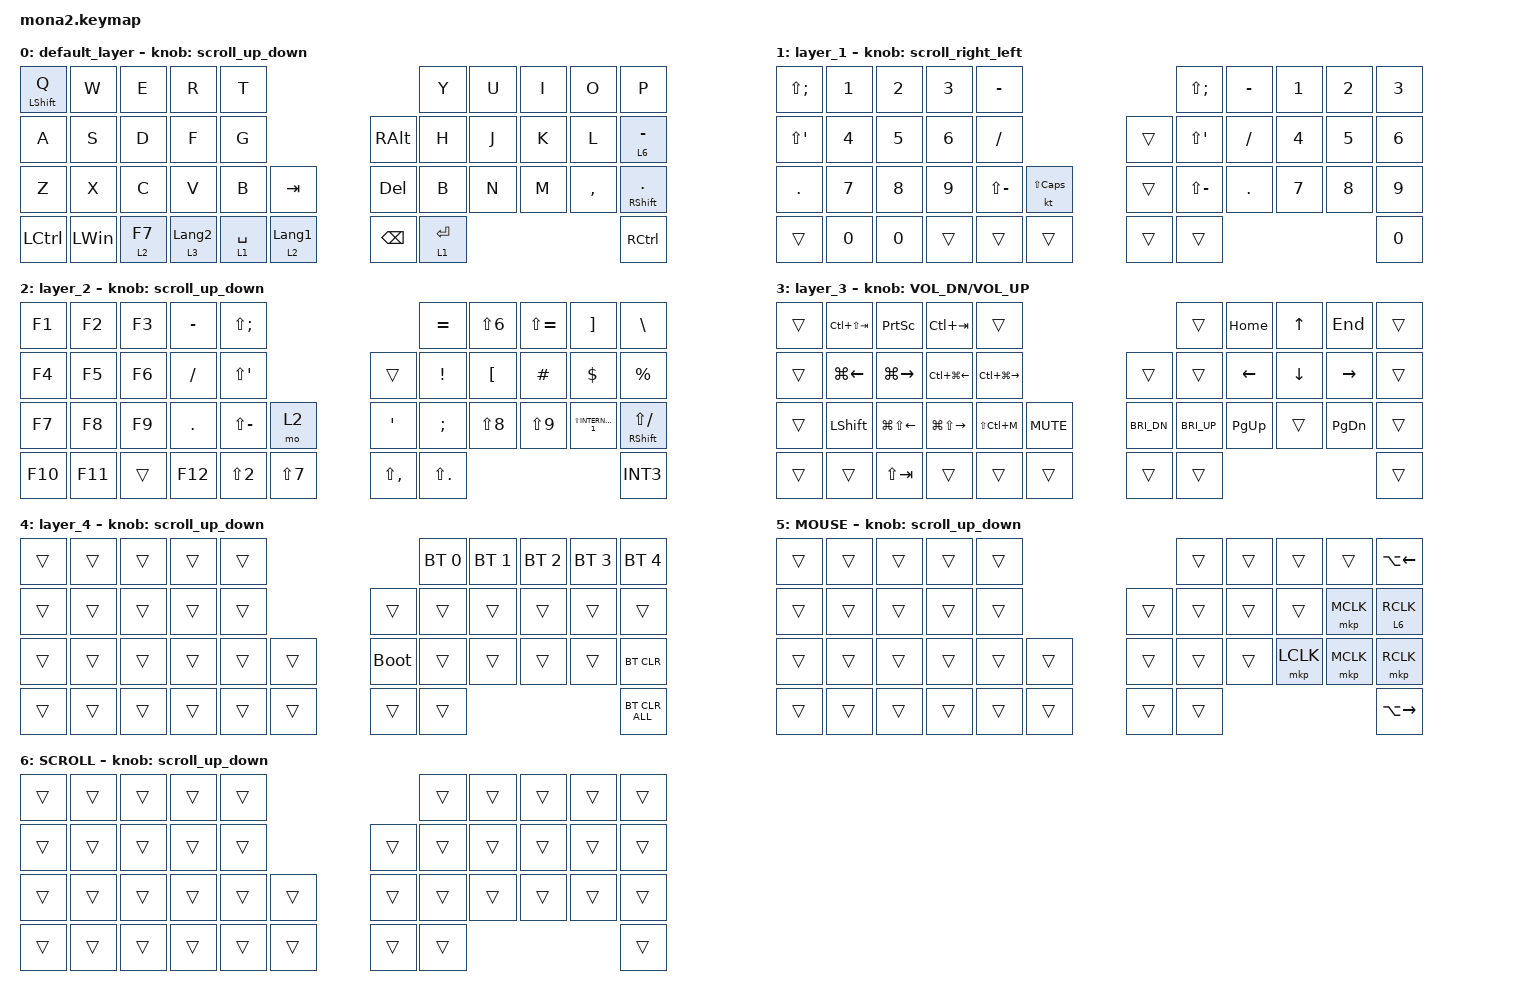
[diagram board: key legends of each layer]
#include <input/processors.dtsi>
#include <dt-bindings/zmk/input_transform.h>
#include <zephyr/dt-bindings/input/input-event-codes.h>
#include <behaviors.dtsi>
#include <dt-bindings/zmk/bt.h>
#include <dt-bindings/zmk/keys.h>
#include <dt-bindings/zmk/pointing.h>

#define ZMK_POINTING_DEFAULT_SCRL_VAL 100
#define MOUSE 5
#define SCROLL 6

// ===== JISマクロ =====

#define JP_PLUS         LS(SEMICOLON)      // +
#define JP_CARET        EQUAL              // ^
#define JP_AMPERSAND    LS(N6)             // &
#define JP_TILDE        LS(EQUAL)          // ~
#define JP_ASTERISK     LS(QUOT)           // *
#define JP_AT           LEFT_BRACKET       // @
#define JP_EQUAL        LS(MINUS)          // =
#define JP_COLON        QUOT               // :
#define JP_LPAREN       LS(N8)             // (
#define JP_RPAREN       LS(N9)             // )
#define JP_LBRACKET     RIGHT_BRACKET      // [
#define JP_RBRACKET     BACKSLASH          // ]
#define JP_LBRACE       LS(RIGHT_BRACKET)  // {
#define JP_RBRACE       LS(BACKSLASH)      // }
#define JP_YEN          INT3               // ￥
#define JP_UNDERSCORE   LS(INT1)           // _

&mt {
    flavor = "balanced";
    quick-tap-ms = <0>;
};

&lt {
    quick-tap-ms = <300>;
    flavor = "balanced";
};

/ {
    combos {
        compatible = "zmk,combos";

        layer4_ESC {
            bindings = <&lt 4 ESC>;
            key-positions = <39 38>;
        };

        tab {
            bindings = <&kp TAB>;
            key-positions = <12 13>;
        };
    };

    macros {
        to_layer_0: to_layer_0 {
            compatible = "zmk,behavior-macro-one-param";
            #binding-cells = <1>;
            bindings = <&to 0 &macro_param_1to1 &kp MACRO_PLACEHOLDER>;
            label = "TO_LAYER_0";
        };
    };

    behaviors {
        lt_to_layer_0: lt_to_layer_0 {
            compatible = "zmk,behavior-hold-tap";
            label = "LAYER_TAP_TO_0";
            bindings = <&mo>, <&to_layer_0>;

            #binding-cells = <2>;
            tapping-term-ms = <200>;
        };

        scroll_up_down: mouse_wheel_up_down {
            compatible = "zmk,behavior-sensor-rotate";
            #sensor-binding-cells = <0>;
            bindings = <&msc SCRL_DOWN>, <&msc SCRL_UP>;

            tap-ms = <20>;
        };

        scroll_right_left: mouse_wheel_right_left {
            compatible = "zmk,behavior-sensor-rotate";
            #sensor-binding-cells = <0>;
            bindings = <&msc SCRL_LEFT>, <&msc SCRL_RIGHT>;

            tap-ms = <20>;
        };

        mouse_layer_tap: mouse_layer_tap {
            compatible = "zmk,behavior-hold-tap";
            #binding-cells = <2>;
            flavor = "tap-preferred";
            tapping-term-ms = <200>;
            bindings = <&mo>, <&mkp>;
        };
    };

    keymap {
        compatible = "zmk,keymap";

        default_layer {
            bindings = <
&mt LSHIFT Q  &kp W         &kp E     &kp R                        &kp T                                                                 &kp Y                   &kp U  &kp I  &kp O      &kp P
&kp A         &kp S         &kp D     &kp F                        &kp G                                                  &kp RIGHT_ALT  &kp H                   &kp J  &kp K  &kp L      &lt 6 MINUS
&kp Z         &kp X         &kp C     &kp V                        &kp B                   &kp TAB                        &kp DELETE     &kp B                   &kp N  &kp M  &kp COMMA  &mt RSHIFT PERIOD
&kp LCTRL     &kp LEFT_WIN  &lt 2 F7  &lt_to_layer_0 3 LANGUAGE_2  &lt_to_layer_0 1 SPACE  &lt_to_layer_0 2 LANGUAGE_1    &kp BACKSPACE  &lt_to_layer_0 1 ENTER                           &kp RIGHT_CONTROL
            >;

            sensor-bindings = <&scroll_up_down>;
        };

        layer_1 {
            bindings = <
&kp JP_PLUS      &kp NUMBER_1  &kp NUMBER_2  &kp NUMBER_3  &kp MINUS                             &kp JP_PLUS      &kp MINUS   &kp NUMBER_1  &kp NUMBER_2  &kp NUMBER_3
&kp JP_ASTERISK  &kp NUMBER_4  &kp NUMBER_5  &kp NUMBER_6  &kp SLASH                     &trans  &kp JP_ASTERISK  &kp SLASH   &kp NUMBER_4  &kp NUMBER_5  &kp NUMBER_6
&kp PERIOD       &kp NUMBER_7  &kp NUMBER_8  &kp NUMBER_9  &kp JP_EQUAL  &kt LS(CLCK)    &trans  &kp JP_EQUAL     &kp PERIOD  &kp NUMBER_7  &kp NUMBER_8  &kp NUMBER_9
&trans           &kp NUMBER_0  &kp NUMBER_0  &trans        &trans        &trans          &trans  &trans                                                   &kp NUMBER_0
            >;

            sensor-bindings = <&scroll_right_left>;
        };

        layer_2 {
            bindings = <
&kp F1   &kp F2   &kp F3  &kp MINUS   &kp JP_PLUS                                   &kp JP_CARET     &kp JP_AMPERSAND  &kp JP_TILDE   &kp JP_LBRACKET          &kp JP_RBRACKET
&kp F4   &kp F5   &kp F6  &kp SLASH   &kp JP_ASTERISK                &trans         &kp EXCLAMATION  &kp JP_AT         &kp HASH       &kp DOLLAR               &kp PERCENT
&kp F7   &kp F8   &kp F9  &kp PERIOD  &kp JP_EQUAL     &mo 2         &kp JP_COLON   &kp SEMICOLON    &kp JP_LPAREN     &kp JP_RPAREN  &kp LS(INTERNATIONAL_1)  &mt RIGHT_SHIFT LS(SLASH)
&kp F10  &kp F11  &trans  &kp F12     &kp LS(N2)       &kp LS(N7)    &kp LS(COMMA)  &kp LS(PERIOD)                                                             &kp INT3
            >;

            sensor-bindings = <&scroll_up_down>;
        };

        layer_3 {
            bindings = <
&trans  &kp LC(LS(TAB))     &kp PRINTSCREEN         &kp LC(TAB)              &trans                                               &trans        &kp HOME        &kp UP_ARROW    &kp END          &trans
&trans  &kp LG(LEFT_ARROW)  &kp LG(RIGHT_ARROW)     &kp LC(LG(LEFT_ARROW))   &kp LC(LG(RIGHT_ARROW))                &trans        &trans        &kp LEFT_ARROW  &kp DOWN_ARROW  &kp RIGHT_ARROW  &trans
&trans  &kp LEFT_SHIFT      &kp LG(LS(LEFT_ARROW))  &kp LG(LS(RIGHT_ARROW))  &kp LS(LC(M))            &kp C_MUTE    &kp C_BRI_DN  &kp C_BRI_UP  &kp PAGE_UP     &trans          &kp PAGE_DOWN    &trans
&trans  &trans              &kp LS(TAB)             &trans                   &trans                   &trans        &trans        &trans                                                         &trans
            >;

            sensor-bindings = <&inc_dec_kp C_VOL_DN C_VOL_UP>;
        };

        layer_4 {
            bindings = <
&trans  &trans  &trans  &trans  &trans                         &bt BT_SEL 0  &bt BT_SEL 1  &bt BT_SEL 2  &bt BT_SEL 3  &bt BT_SEL 4
&trans  &trans  &trans  &trans  &trans            &trans       &trans        &trans        &trans        &trans        &trans
&trans  &trans  &trans  &trans  &trans  &trans    &bootloader  &trans        &trans        &trans        &trans        &bt BT_CLR
&trans  &trans  &trans  &trans  &trans  &trans    &trans       &trans                                                  &bt BT_CLR_ALL
            >;

            sensor-bindings = <&scroll_up_down>;
        };

        MOUSE {
            bindings = <
&trans  &trans  &trans  &trans  &trans                    &trans  &trans  &trans     &trans     &kp LA(LEFT_ARROW)
&trans  &trans  &trans  &trans  &trans            &trans  &trans  &trans  &trans     &mkp MCLK  &mouse_layer_tap 6 RCLK
&trans  &trans  &trans  &trans  &trans  &trans    &trans  &trans  &trans  &mkp LCLK  &mkp MCLK  &mkp RCLK
&trans  &trans  &trans  &trans  &trans  &trans    &trans  &trans                                &kp LA(RIGHT_ARROW)
            >;

            sensor-bindings = <&scroll_up_down>;
        };

        SCROLL {
            bindings = <
&trans  &trans  &trans  &trans  &trans                    &trans  &trans  &trans  &trans  &trans
&trans  &trans  &trans  &trans  &trans            &trans  &trans  &trans  &trans  &trans  &trans
&trans  &trans  &trans  &trans  &trans  &trans    &trans  &trans  &trans  &trans  &trans  &trans
&trans  &trans  &trans  &trans  &trans  &trans    &trans  &trans                          &trans
            >;

            sensor-bindings = <&scroll_up_down>;
        };
    };
};
